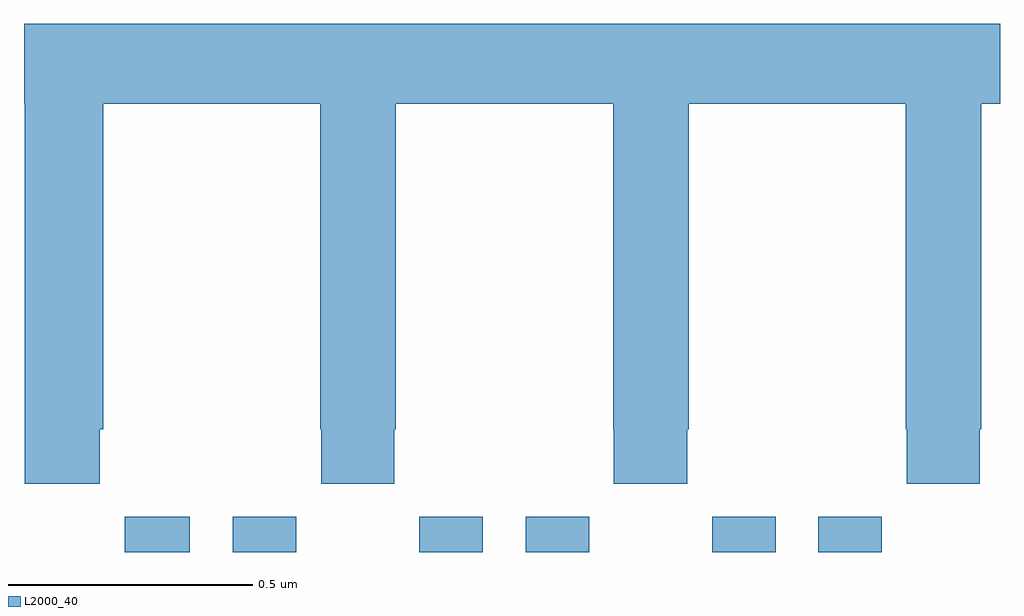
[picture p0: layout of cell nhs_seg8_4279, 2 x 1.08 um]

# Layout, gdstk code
import gdstk
lib = gdstk.Library(unit=1e-6, precision=1e-09)
def R(c, l, rs):  # rectangles x0, y0, x1, y1
    for r in rs: c.add(gdstk.rectangle(r[:2], r[2:], *l))
def P(c, l, *ps):  # polygons
    for p in ps: c.add(gdstk.Polygon(p, *l))
L2000_40 = (2000, 40)

nhs_seg8_4279 = lib.new_cell('nhs_seg8_4279')
R(nhs_seg8_4279, L2000_40, [(168.206,1128.9,168.34,1128.973), (168.428,1128.9,168.558,1128.973), (168.81,1128.9,168.94,1128.973), (169.028,1128.9,169.158,1128.973), (169.41,1128.9,169.54,1128.973), (169.628,1128.9,169.758,1128.973)])
P(nhs_seg8_4279, L2000_40, [(168.155,1129.153),(168.162,1129.153),(168.162,1129.82),(168.607,1129.82),(168.607,1129.153),(168.609,1129.153),(168.609,1129.041),(168.759,1129.041),(168.759,1129.153),(168.762,1129.153),(168.762,1129.82),(169.207,1129.82),(169.207,1129.153),(169.209,1129.153),(169.209,1129.041),(169.359,1129.041),(169.359,1129.153),(169.362,1129.153),(169.362,1129.82),(169.807,1129.82),(169.807,1129.153),(169.809,1129.153),(169.809,1129.041),(169.959,1129.041),(169.959,1129.153),(169.962,1129.153),(169.962,1129.82),(170,1129.82),(170,1129.984),(168,1129.984),(168,1129.82),(168.002,1129.82),(168.002,1129.041),(168.155,1129.041)])

lib.write_gds('nhs_seg8_4279.gds')
